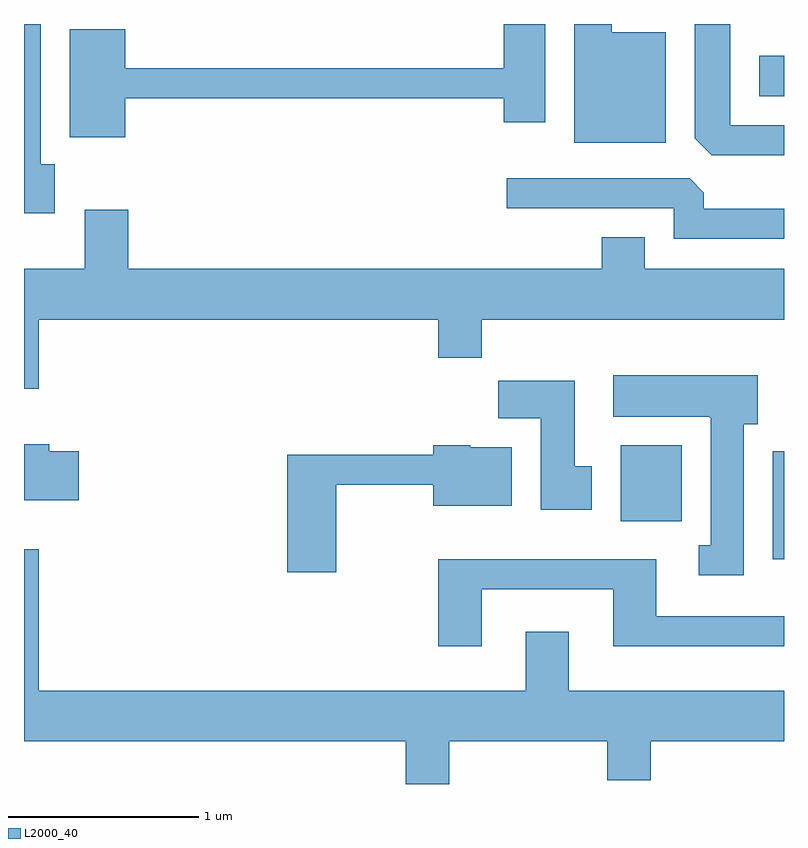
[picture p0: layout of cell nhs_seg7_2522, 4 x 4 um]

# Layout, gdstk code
import gdstk
lib = gdstk.Library(unit=1e-6, precision=1e-09)
def R(c, l, rs):  # rectangles x0, y0, x1, y1
    for r in rs: c.add(gdstk.rectangle(r[:2], r[2:], *l))
def P(c, l, *ps):  # polygons
    for p in ps: c.add(gdstk.Polygon(p, *l))
L2000_40 = (2000, 40)

nhs_seg7_2522 = lib.new_cell('nhs_seg7_2522')
R(nhs_seg7_2522, L2000_40, [(265.551,1777.436,265.611,1778.004), (264.751,1777.636,265.074,1778.034), (265.481,1779.871,265.611,1780.084)])
P(nhs_seg7_2522, L2000_40, [(264.989,1780.209),(264.704,1780.209),(264.704,1780.252),(264.506,1780.252),(264.506,1779.626),(264.989,1779.626)],
  [(261.774,1779.514),(261.699,1779.514),(261.699,1780.252),(261.611,1780.252),(261.611,1779.256),(261.774,1779.256)],
  [(265.611,1779.719),(265.329,1779.719),(265.329,1780.252),(265.141,1780.252),(265.141,1779.652),(265.232,1779.561),(265.611,1779.561)],
  [(262.144,1779.861),(264.136,1779.861),(264.136,1779.736),(264.354,1779.736),(264.354,1780.252),(264.136,1780.252),(264.136,1780.019),(262.144,1780.019),(262.144,1780.224),(261.851,1780.224),(261.851,1779.656),(262.144,1779.656)],
  [(265.611,1779.279),(265.189,1779.279),(265.189,1779.364),(265.114,1779.439),(264.153,1779.439),(264.153,1779.281),(265.031,1779.281),(265.031,1779.121),(265.611,1779.121)],
  [(261.689,1778.696),(263.791,1778.696),(263.791,1778.496),(264.019,1778.496),(264.019,1778.696),(265.611,1778.696),(265.611,1778.964),(264.879,1778.964),(264.879,1779.129),(264.651,1779.129),(264.651,1778.964),(262.159,1778.964),(262.159,1779.274),(261.931,1779.274),(261.931,1778.964),(261.611,1778.964),(261.611,1778.333),(261.689,1778.333)],
  [(265.399,1778.146),(265.474,1778.146),(265.474,1778.404),(264.711,1778.404),(264.711,1778.186),(265.22,1778.186),(265.22,1778.18),(265.226,1778.18),(265.226,1777.509),(265.163,1777.509),(265.163,1777.351),(265.399,1777.351)],
  [(264.599,1777.924),(264.509,1777.924),(264.509,1778.374),(264.106,1778.374),(264.106,1778.176),(264.331,1778.176),(264.331,1777.696),(264.599,1777.696)],
  [(261.899,1778.004),(261.744,1778.004),(261.744,1778.039),(261.611,1778.039),(261.611,1777.746),(261.899,1777.746)],
  [(263.254,1777.826),(263.766,1777.826),(263.766,1777.716),(264.179,1777.716),(264.179,1778.024),(263.96,1778.024),(263.96,1778.034),(263.766,1778.034),(263.766,1777.984),(262.996,1777.984),(262.996,1777.366),(263.254,1777.366)],
  [(263.849,1776.476),(264.681,1776.476),(264.681,1776.271),(264.909,1776.271),(264.909,1776.476),(265.611,1776.476),(265.611,1776.744),(264.479,1776.744),(264.479,1777.054),(264.251,1777.054),(264.251,1776.744),(261.689,1776.744),(261.689,1777.488),(261.611,1777.488),(261.611,1776.476),(263.621,1776.476),(263.621,1776.252),(263.849,1776.252)],
  [(264.019,1777.276),(264.711,1777.276),(264.711,1776.976),(265.611,1776.976),(265.611,1777.134),(264.939,1777.134),(264.939,1777.434),(263.791,1777.434),(263.791,1776.976),(264.019,1776.976)])

lib.write_gds('nhs_seg7_2522.gds')
